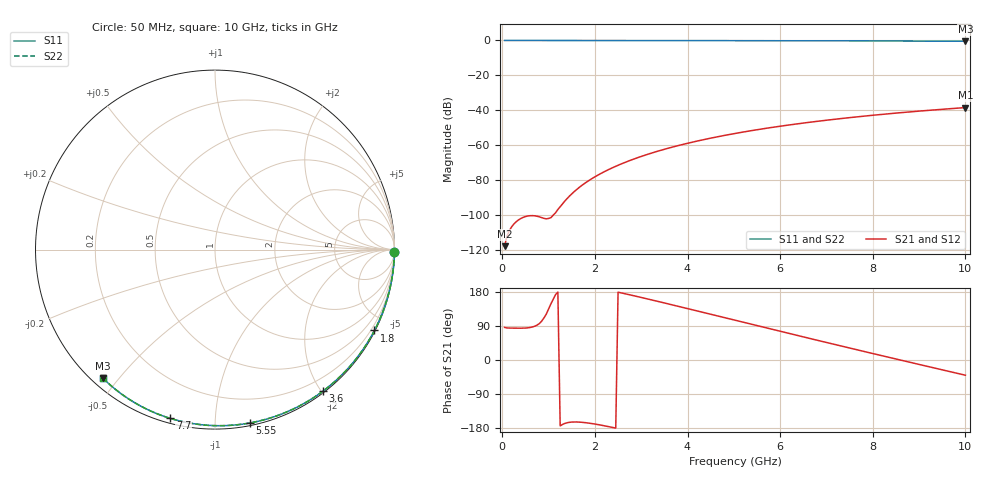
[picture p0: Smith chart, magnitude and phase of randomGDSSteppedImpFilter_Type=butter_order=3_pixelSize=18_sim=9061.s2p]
! freq	dB(S11)	phase(S11)	dB(S12)	phase(S12)
!  dB(S21)	phase(S21)	dB(S22)	phase(S22)
!S-par simulation data
#  GHz  S  DB  R 50
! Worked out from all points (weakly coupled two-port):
!   200 points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, 50 MHz to 10 GHz, reference 50 ohm
!   highest |S21| = -38.45 dB at 10 GHz (marker M1); lowest = -117.8 dB at 50 MHz (marker M2)
!   lowest |S11| = -0.4 dB at 10 GHz (marker M3), VSWR 39.11, Z = 1.54 - j22.7 ohm
!   |S11| at or under -10 dB: nowhere
!   |S22| runs from -0.4 to 0.0 dB; largest |S21 - S12| = 0
!   S11 on the Smith chart (normalised r, x): 50 MHz: open; 1.8 GHz: 0.04, -4.18; 3.6 GHz: 0.02, -2.02; 5.55 GHz: 0.02, -1.22; 7.7 GHz: 0.02, -0.77; 10 GHz: 0.03, -0.45
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0.05  -0.00 -0.8  -117.80 86.0  -117.80 86.0  -0.00 -0.8
0.9  -0.02 -13.6  -101.87 111.1  -101.87 111.1  -0.02 -13.6
1.75  -0.03 -26.1  -82.38 -164.8  -82.38 -164.8  -0.03 -26.1
1.8  -0.03 -26.9  -81.44 -165.4  -81.44 -165.4  -0.03 -26.9
1.85  -0.04 -27.6  -80.55 -166.2  -80.55 -166.2  -0.04 -27.6
1.9  -0.04 -28.3  -79.69 -167.1  -79.69 -167.1  -0.04 -28.3
2.05  -0.04 -30.5  -77.32 -170.1  -77.32 -170.1  -0.04 -30.5
2.25  -0.04 -33.4  -74.52 -174.7  -74.52 -174.7  -0.04 -33.4
2.45  -0.05 -36.3  -72.04 -179.8  -72.04 -179.8  -0.05 -36.3
2.65  -0.05 -39.2  -69.82 174.9  -69.82 174.9  -0.05 -39.2
3  -0.06 -44.2  -66.41 165.1  -66.41 165.1  -0.06 -44.2
3.4  -0.07 -49.8  -63.07 153.5  -63.07 153.5  -0.07 -49.8
3.6  -0.07 -52.6  -61.58 147.6  -61.58 147.6  -0.07 -52.6
4.3  -0.09 -62.1  -57.07 126.7  -57.07 126.7  -0.09 -62.1
5.05  -0.11 -72.1  -53.14 104.2  -53.14 104.2  -0.11 -72.1
5.55  -0.13 -78.5  -50.91 89.3  -50.91 89.3  -0.13 -78.5
6.1  -0.15 -85.5  -48.73 72.8  -48.73 72.8  -0.15 -85.5
6.7  -0.18 -92.9  -46.63 55.1  -46.63 55.1  -0.18 -92.9
7.7  -0.24 -104.9  -43.63 25.7  -43.63 25.7  -0.24 -104.9
8.35  -0.29 -112.4  -41.96 6.9  -41.96 6.9  -0.29 -112.4
9.15  -0.36 -121.6  -40.14 -16.0  -40.14 -16.0  -0.36 -121.6
10  -0.44 -131.2  -38.45 -40.2  -38.45 -40.2  -0.44 -131.2
